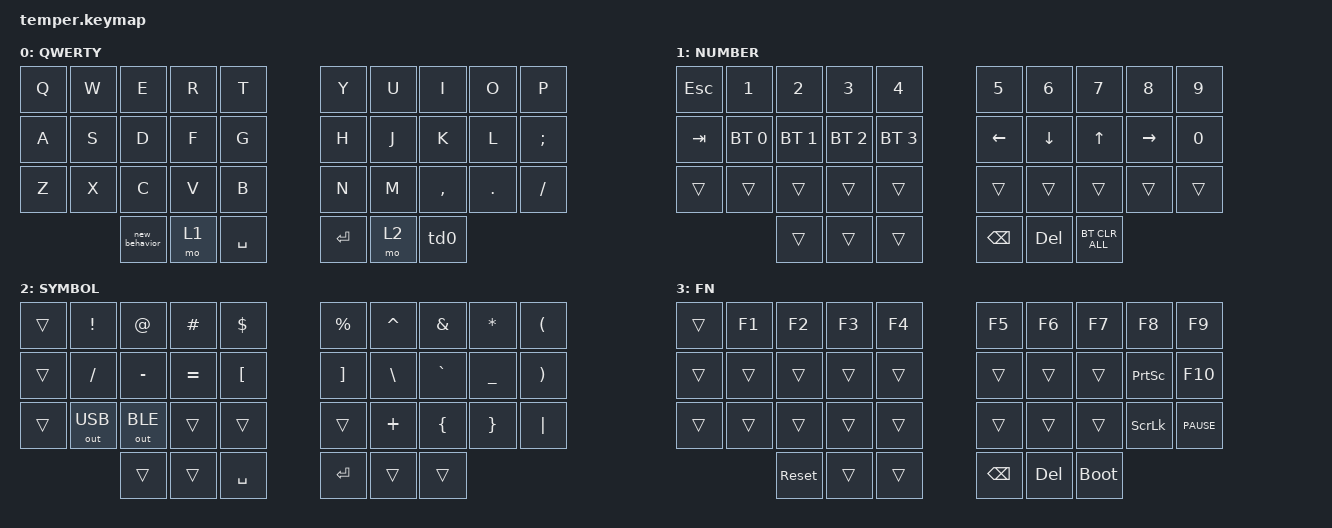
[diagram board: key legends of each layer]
/*
 * Copyright (c) 2020 The ZMK Contributors
 *
 * SPDX-License-Identifier: MIT
 */
/*
 * Temper 36 - editor-friendly keymap (NO preprocessor macros)
 */

#include <behaviors.dtsi>
#include <dt-bindings/zmk/bt.h>
#include <dt-bindings/zmk/keys.h>
#include <dt-bindings/zmk/outputs.h>

/ {
    behaviors {
        /* Tap dance: tap = Shift, double tap = Caps */

        td0: td0 {
            compatible = "zmk,behavior-tap-dance";
            display-name = "Shift/Caps Tap Dance";
            #binding-cells = <0>;
            bindings = <&kp LSHFT>, <&kp CAPS>;
        };

        /* Tap dance: tap = LALT, double tap = LGUI */

        new_behavior: new_behavior {
            compatible = "zmk,behavior-tap-dance";
            display-name = "Alt/Gui Tap Dance";
            #binding-cells = <0>;
            bindings = <&kp LALT>, <&kp LGUI>;
        };
    };

    keymap {
        compatible = "zmk,keymap";

        /*
         * IMPORTANT:
         * This assumes your Temper36 matrix order is:
         * Row0: 10 keys
         * Row1: 10 keys
         * Row2: 10 keys
         * Row3: 6 thumbs (3 left + 3 right)
         */
        /* Layer 0: DEFAULT (QWERTY) */

        layer0 {
            display-name = "QWERTY";
            bindings = <
&kp Q  &kp W  &kp E          &kp R  &kp T      &kp Y      &kp U  &kp I      &kp O    &kp P
&kp A  &kp S  &kp D          &kp F  &kp G      &kp H      &kp J  &kp K      &kp L    &kp SEMI
&kp Z  &kp X  &kp C          &kp V  &kp B      &kp N      &kp M  &kp COMMA  &kp DOT  &kp FSLH
              &new_behavior  &mo 1  &kp SPACE  &kp ENTER  &mo 2  &td0
            >;
        };

        /* Layer 1: LOWER / NUMBER */

        layer1 {
            display-name = "NUMBER";
            bindings = <
&kp ESC  &kp N1        &kp N2        &kp N3        &kp N4        &kp N5    &kp N6    &kp N7          &kp N8     &kp N9
&kp TAB  &bt BT_SEL 0  &bt BT_SEL 1  &bt BT_SEL 2  &bt BT_SEL 3  &kp LEFT  &kp DOWN  &kp UP          &kp RIGHT  &kp N0
&trans   &trans        &trans        &trans        &trans        &trans    &trans    &trans          &trans     &trans
                       &trans        &trans        &trans        &kp BSPC  &kp DEL   &bt BT_CLR_ALL
            >;
        };

        /* Layer 2: RAISE / SYMBOL */

        layer2 {
            display-name = "SYMBOL";
            bindings = <
&trans  &kp EXCL      &kp AT        &kp HASH   &kp DLLR   &kp PRCNT  &kp CARET  &kp AMPS   &kp ASTRK  &kp LPAR
&trans  &kp SLASH     &kp MINUS     &kp EQUAL  &kp LBKT   &kp RBKT   &kp BSLH   &kp GRAVE  &kp UNDER  &kp RPAR
&trans  &out OUT_USB  &out OUT_BLE  &trans     &trans     &trans     &kp PLUS   &kp LBRC   &kp RBRC   &kp PIPE
                      &trans        &trans     &kp SPACE  &kp RET    &trans     &trans
            >;
        };

        /* Layer 3: FN */

        layer3 {
            display-name = "FN";
            bindings = <
&trans  &kp F1  &kp F2      &kp F3  &kp F4  &kp F5    &kp F6   &kp F7       &kp F8     &kp F9
&trans  &trans  &trans      &trans  &trans  &trans    &trans   &trans       &kp PSCRN  &kp F10
&trans  &trans  &trans      &trans  &trans  &trans    &trans   &trans       &kp SLCK   &kp PAUSE
                &sys_reset  &trans  &trans  &kp BSPC  &kp DEL  &bootloader
            >;
        };
    };
};
